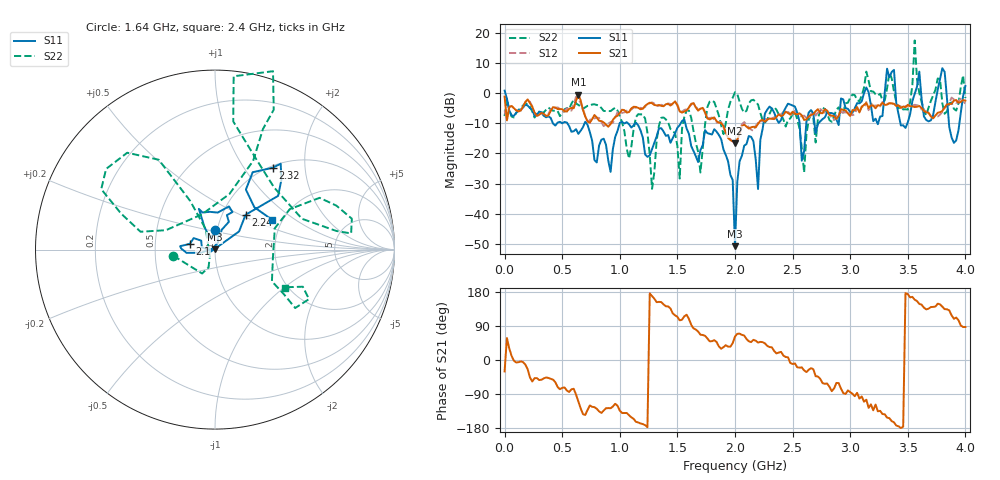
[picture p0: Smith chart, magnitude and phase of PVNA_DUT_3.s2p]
! PocketVna 1.78  pocketvna.com
! Live measurements ((Reflection-S11, Transmission-S21, Transmission-S12, Reflection-S22) Linear 500000-4000000000/201 calibrated)
# Hz S RI R 50
! Hz  ReS11  ImS11  ReS21  ImS21  ReS12  ImS12  ReS22  ImS22
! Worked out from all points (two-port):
!   201 points, 500 kHz to 4 GHz, reference 50 ohm
!   highest |S21| = -0.39 dB at 640.4 MHz (marker M1); lowest = -16.6 dB at 2 GHz (marker M2)
!   |S21| within 3 dB of the highest: 173.9 MHz to 222.9 MHz (48.91 MHz wide, 24.7 % of centre); 3.882 GHz to end of sweep (the widest 2 of 10)
!   lowest |S11| = -50.8 dB at 2 GHz (marker M3), VSWR 1.01, Z = 49.8 + j0.143 ohm
!   |S11| at or under -10 dB: 711.1 MHz to 999 MHz (288 MHz wide, 33.7 % of centre); 1.146 GHz to 1.529 GHz (382.7 MHz wide, 28.6 % of centre); 1.569 GHz to 2.247 GHz (678.4 MHz wide, 35.6 % of centre) (the widest 3 of 13)
!   |S22| runs from -31.8 to 17.6 dB; largest |S21 - S12| = 1.2
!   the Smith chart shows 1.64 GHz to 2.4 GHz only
!   S11 on the Smith chart (normalised r, x): 1.64 GHz: 0.98, +0.22; 2.1 GHz: 0.75, +0.05; 2.24 GHz: 1.29, +0.53; 2.32 GHz: 1.03, +1.36; 2.4 GHz: 1.77, +0.67
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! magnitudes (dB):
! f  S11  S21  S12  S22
! 500 kHz  0.9  -1.1  -5.7  -7.6
! 640.4 MHz  -13.5  -0.4  -1.8  -3.8
! 680.4 MHz  -11.3  -5.5  -4.9  -5.2
! 1.2 GHz  -14.7  -5.1  -5.0  -7.0
! 1.28 GHz  -18.5  -3.3  -3.0  -31.8
! 1.34 GHz  -11.7  -3.9  -4.1  -10.7
! 1.64 GHz  -19.2  -3.3  -3.3  -12.6
! 1.88 GHz  -15.3  -9.8  -9.5  -10.6
! 2 GHz  -50.8  -16.6  -17.0  0.4
! 2.1 GHz  -16.9  -11.1  -10.5  -5.8
! 2.2 GHz  -31.8  -10.2  -9.9  -3.7
! 2.24 GHz  -11.8  -8.8  -9.2  -9.0
! 2.32 GHz  -5.1  -8.5  -8.3  -5.1
! 2.4 GHz  -8.9  -7.6  -6.9  -7.0
! 2.6 GHz  -19.2  -8.8  -7.4  -26.3
! 2.68 GHz  -6.7  -7.0  -5.9  -8.3
! 3.34 GHz  5.3  -3.3  -3.4  6.8
! 3.48 GHz  -11.5  -4.6  -4.2  -5.3
! 3.56 GHz  -0.1  -4.6  -3.8  17.6
! 3.8 GHz  8.4  -5.9  -6.1  -3.4
! 3.9 GHz  -16.5  -2.4  -2.0  -5.1
! 4 GHz  2.5  -2.4  -3.4  -1.5
